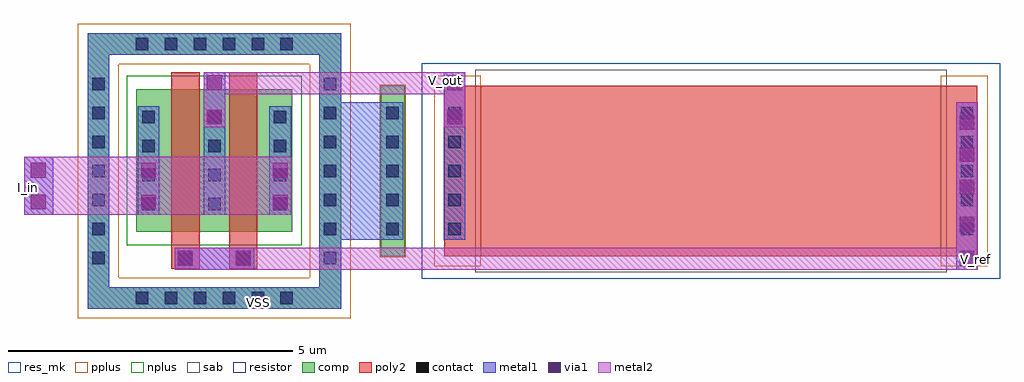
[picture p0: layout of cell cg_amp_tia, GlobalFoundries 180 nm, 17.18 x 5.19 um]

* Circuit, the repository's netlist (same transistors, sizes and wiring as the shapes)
* Extracted by KLayout with GF180MCU LVS runset on : 31/10/2026 13:32

.SUBCKT cg_amp_tia V_out V_ref I_in VSS
R$1 V_out V_ref VSS 2700 ppolyf_u_1k L=8.1U W=3U
M$2 V_out V_ref I_in VSS nfet_03v3 L=0.5U W=5U AS=2.175P AD=2.175P PS=9.24U
+ PD=9.24U
.ENDS cg_amp_tia

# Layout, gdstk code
import gdstk
lib = gdstk.Library(unit=1e-6, precision=5e-09)
def R(c, l, rs):  # rectangles x0, y0, x1, y1
    for r in rs: c.add(gdstk.rectangle(r[:2], r[2:], *l))
def A(c, l, x, y, w, h, nx, ny, dx, dy):  # array of equal rectangles
    R(c, l, [(x+i*dx, y+j*dy, x+i*dx+w, y+j*dy+h) for i in range(nx) for j in range(ny)])
def P(c, l, *ps):  # polygons
    for p in ps: c.add(gdstk.Polygon(p, *l))
comp = (22, 0)
poly2 = (30, 0)
pplus = (31, 0)
nplus = (32, 0)
contact = (33, 0)
metal1 = (34, 0)
via1 = (35, 0)
metal2 = (36, 0)
sab = (49, 0)
resistor = (62, 0)
res_mk = (110, 5)

nfet = lib.new_cell('nfet')
R(nfet, comp, [(-0.42,0,0,2.5), (0,0,1.9,2.5), (1.9,0,2.32,2.5)])
P(nfet, comp, [(-1.28,-1.36),(-1.28,3.11),(-0.9,3.11),(-0.9,-0.98),(2.8,-0.98),(2.8,3.11),(-1.28,3.11),(-1.28,3.49),(3.18,3.49),(3.18,-1.36)])
R(nfet, poly2, [(0.19,-0.66,0.69,-0.3), (1.21,-0.66,1.71,-0.3), (0.19,-0.3,0.69,2.8), (1.21,-0.3,1.71,2.8)])
P(nfet, pplus, [(-1.45,-1.53),(-1.45,2.94),(-0.73,2.94),(-0.73,-0.81),(2.63,-0.81),(2.63,2.94),(-1.45,2.94),(-1.45,3.66),(3.35,3.66),(3.35,-1.53)])
R(nfet, nplus, [(-0.59,-0.24,2.49,2.74)])
A(nfet, contact, -0.435, -1.28, 0.22, 0.22, 6, 2, 0.51, 4.47)
A(nfet, contact, -1.2, -0.575, 0.22, 0.22, 1, 7, 0, 0.51)
A(nfet, contact, 2.88, -0.575, 0.22, 0.22, 1, 7, 0, 0.51)
A(nfet, contact, -0.32, 0.375, 0.22, 0.22, 3, 4, 1.16, 0.51)
R(nfet, contact, [(0.33,-0.59,0.55,-0.37), (1.35,-0.59,1.57,-0.37)])
A(nfet, metal1, -0.4, 0.295, 0.38, 1.91, 3, 1, 1.16, 0)
R(nfet, metal1, [(0.25,-0.67,0.63,-0.29), (1.27,-0.67,1.65,-0.29)])

ppolyf_u_high_rs_resisto = lib.new_cell('ppolyf_u_high_Rs_resistor')
R(ppolyf_u_high_rs_resisto, comp, [(-1.76,0,-1.34,3)])
R(ppolyf_u_high_rs_resisto, poly2, [(-0.64,0,8.74,3)])
R(ppolyf_u_high_rs_resisto, pplus, [(-0.82,-0.18,0,3.18), (8.1,-0.18,8.92,3.18), (-1.78,-0.02,-1.32,3.02)])
A(ppolyf_u_high_rs_resisto, contact, -1.66, 0.37, 0.22, 0.22, 1, 5, 0, 0.51)
A(ppolyf_u_high_rs_resisto, contact, -0.57, 0.37, 0.22, 0.22, 1, 5, 0, 0.51)
A(ppolyf_u_high_rs_resisto, contact, 8.45, 0.37, 0.22, 0.22, 1, 5, 0, 0.51)
R(ppolyf_u_high_rs_resisto, metal1, [(-1.74,0.29,-1.36,2.71), (-0.65,0.29,-0.27,2.71), (8.37,0.29,8.75,2.71)])
R(ppolyf_u_high_rs_resisto, sab, [(-0.1,-0.28,8.2,3.28)])
R(ppolyf_u_high_rs_resisto, resistor, [(-1.04,-0.4,9.14,3.4)])
R(ppolyf_u_high_rs_resisto, res_mk, [(0,0,8.1,3)])

cg_amp_tia = lib.new_cell('cg_amp_tia')
R(cg_amp_tia, metal1, [(3.395,1.865,4.795,2.245), (5.945,2.39,7.425,4.81), (0.745,2.83,1.26,3.85)])
R(cg_amp_tia, via1, [(3.455,1.935,3.715,2.195), (4.475,1.935,4.735,2.195), (17.215,1.935,17.475,2.195), (17.215,2.535,17.475,2.795), (0.865,2.925,1.125,3.185), (2.805,2.925,3.065,3.185), (5.125,2.925,5.385,3.185), (17.215,3.19,17.475,3.45), (0.865,3.485,1.125,3.745), (2.805,3.485,3.065,3.745), (5.125,3.485,5.385,3.745), (17.215,3.76,17.475,4.02), (17.215,4.325,17.475,4.585), (3.965,4.42,4.225,4.68), (8.195,4.42,8.455,4.68), (3.965,5.025,4.225,5.285), (8.195,5.025,8.455,5.285)])
R(cg_amp_tia, metal2, [(0.745,2.83,5.445,3.85)])
cg_amp_tia.add(gdstk.FlexPath([(2.71,5.835),(6.135,5.835),(6.135,1.365),(2.055,1.365),(2.055,5.835),(2.71,5.835)], 0.38, ends="flush", simple_path=True, layer=34, datatype=0))  # metal1
cg_amp_tia.add(gdstk.FlexPath([(4.095,4.74),(4.095,5.335)], 0.38, ends="flush", simple_path=True, layer=34, datatype=0))  # metal1
cg_amp_tia.add(gdstk.FlexPath([(8.325,4.81),(8.325,5.335)], 0.38, ends="flush", simple_path=True, layer=34, datatype=0))  # metal1
cg_amp_tia.add(gdstk.FlexPath([(17.345,2.39),(17.345,1.865)], 0.38, ends="flush", simple_path=True, layer=34, datatype=0))  # metal1
cg_amp_tia.add(gdstk.FlexPath([(3.905,5.145),(8.515,5.145)], 0.38, ends="flush", simple_path=True, layer=36, datatype=0))  # metal2
cg_amp_tia.add(gdstk.FlexPath([(3.395,2.055),(17.535,2.055)], 0.38, ends="flush", simple_path=True, layer=36, datatype=0))  # metal2
cg_amp_tia.add(gdstk.FlexPath([(4.095,4.955),(4.095,4.37)], 0.38, ends="flush", simple_path=True, layer=36, datatype=0))  # metal2
cg_amp_tia.add(gdstk.FlexPath([(8.325,4.955),(8.325,4.37)], 0.38, ends="flush", simple_path=True, layer=36, datatype=0))  # metal2
cg_amp_tia.add(gdstk.FlexPath([(17.345,2.245),(17.345,4.81)], 0.38, ends="flush", simple_path=True, layer=36, datatype=0))  # metal2
cg_amp_tia.add(gdstk.Reference(nfet, (3.145,2.535)))
cg_amp_tia.add(gdstk.Reference(ppolyf_u_high_rs_resisto, (8.785,2.1)))
cg_amp_tia.add(gdstk.Label('V_out', (8.16,5.195), layer=34, texttype=10))
cg_amp_tia.add(gdstk.Label('V_ref', (17.5,2.05), layer=34, texttype=10))
cg_amp_tia.add(gdstk.Label('I_in', (0.825,3.305), layer=34, texttype=10))
cg_amp_tia.add(gdstk.Label('VSS', (4.865,1.28), layer=34, texttype=10))

lib.write_gds('cg_amp_tia.gds')
